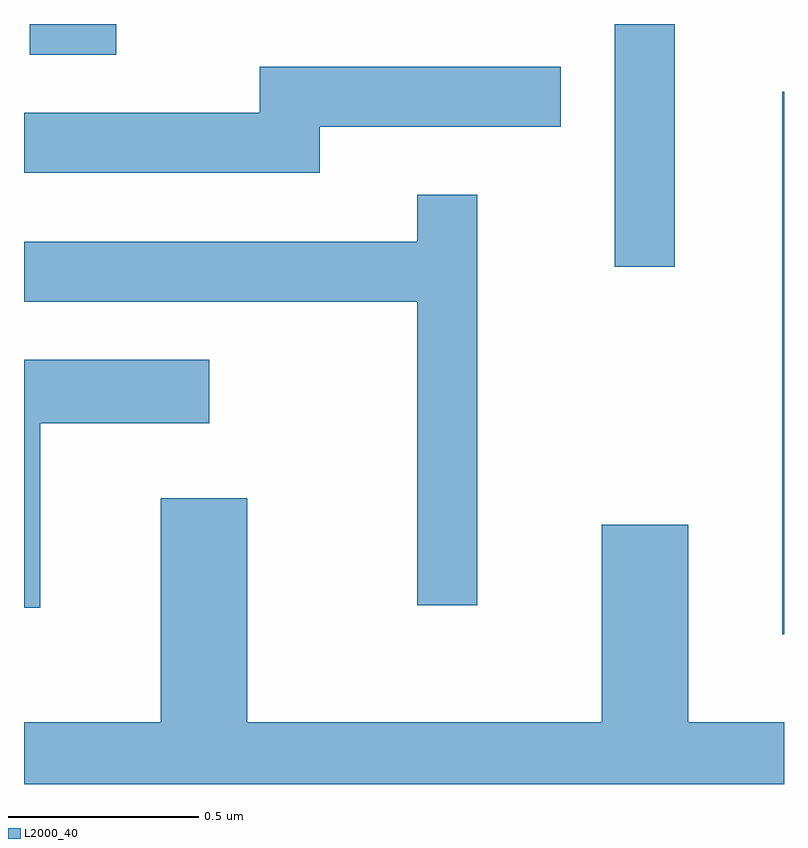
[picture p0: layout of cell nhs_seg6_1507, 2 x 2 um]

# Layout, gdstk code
import gdstk
lib = gdstk.Library(unit=1e-6, precision=1e-09)
def R(c, l, rs):  # rectangles x0, y0, x1, y1
    for r in rs: c.add(gdstk.rectangle(r[:2], r[2:], *l))
def P(c, l, *ps):  # polygons
    for p in ps: c.add(gdstk.Polygon(p, *l))
L2000_40 = (2000, 40)

nhs_seg6_1507 = lib.new_cell('nhs_seg6_1507')
R(nhs_seg6_1507, L2000_40, [(198.606,1530.556,198.611,1531.984), (198.166,1531.523,198.324,1532.162), (196.626,1532.081,196.854,1532.162)])
P(nhs_seg6_1507, L2000_40, [(197.389,1531.891),(198.023,1531.891),(198.023,1532.049),(197.231,1532.049),(197.231,1531.929),(196.611,1531.929),(196.611,1531.771),(197.389,1531.771)],
  [(197.804,1531.713),(197.646,1531.713),(197.646,1531.589),(196.611,1531.589),(196.611,1531.431),(197.646,1531.431),(197.646,1530.633),(197.804,1530.633)],
  [(196.654,1531.111),(197.098,1531.111),(197.098,1531.279),(196.611,1531.279),(196.611,1530.626),(196.654,1530.626)],
  [(198.611,1530.324),(198.359,1530.324),(198.359,1530.844),(198.131,1530.844),(198.131,1530.324),(197.199,1530.324),(197.199,1530.914),(196.971,1530.914),(196.971,1530.324),(196.611,1530.324),(196.611,1530.162),(198.611,1530.162)])

lib.write_gds('nhs_seg6_1507.gds')
